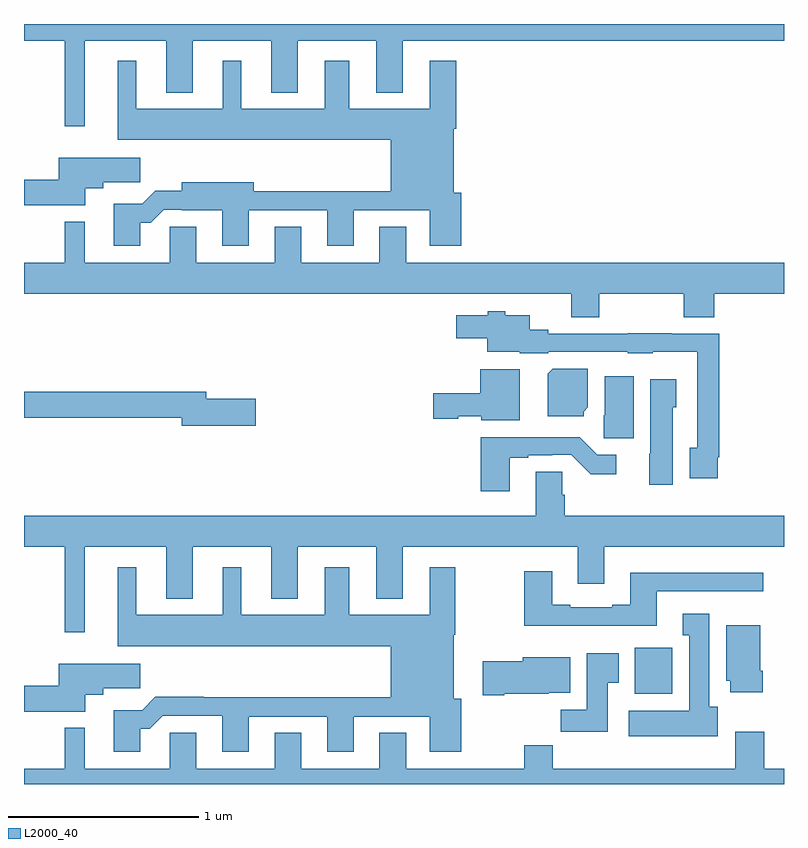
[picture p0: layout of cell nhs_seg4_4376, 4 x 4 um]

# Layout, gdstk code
import gdstk
lib = gdstk.Library(unit=1e-6, precision=1e-09)
def R(c, l, rs):  # rectangles x0, y0, x1, y1
    for r in rs: c.add(gdstk.rectangle(r[:2], r[2:], *l))
def P(c, l, *ps):  # polygons
    for p in ps: c.add(gdstk.Polygon(p, *l))
L2000_40 = (2000, 40)

nhs_seg4_4376 = lib.new_cell('nhs_seg4_4376')
R(nhs_seg4_4376, L2000_40, [(348.215,801.374,348.412,801.616)])
P(nhs_seg4_4376, L2000_40, [(345.319,804.812),(345.749,804.812),(345.749,804.539),(345.889,804.539),(345.889,804.812),(346.301,804.812),(346.301,804.539),(346.441,804.539),(346.441,804.812),(346.853,804.812),(346.853,804.539),(346.993,804.539),(346.993,804.812),(349,804.812),(349,804.9),(345,804.9),(345,804.812),(345.215,804.812),(345.215,804.363),(345.319,804.363)],
  [(345.613,803.855),(345.668,803.855),(345.735,803.922),(345.829,803.922),(345.829,803.919),(346.043,803.919),(346.043,803.733),(346.183,803.733),(346.183,803.919),(346.595,803.919),(346.595,803.733),(346.735,803.733),(346.735,803.919),(347.135,803.919),(347.135,803.733),(347.3,803.733),(347.3,804.012),(347.263,804.012),(347.263,804.35),(347.276,804.35),(347.276,804.706),(347.135,804.706),(347.135,804.454),(346.711,804.454),(346.711,804.706),(346.583,804.706),(346.583,804.454),(346.144,804.454),(346.144,804.706),(346.046,804.706),(346.046,804.454),(345.592,804.454),(345.592,804.706),(345.494,804.706),(345.494,804.29),(346.931,804.29),(346.931,804.02),(346.21,804.02),(346.21,804.067),(345.83,804.067),(345.83,804.023),(345.692,804.023),(345.622,803.953),(345.473,803.953),(345.473,803.733),(345.613,803.733)],
  [(345.322,804.035),(345.418,804.035),(345.418,804.067),(345.613,804.067),(345.613,804.196),(345.182,804.196),(345.182,804.08),(345,804.08),(345,803.945),(345.322,803.945)],
  [(348.027,803.48),(348.472,803.48),(348.472,803.356),(348.632,803.356),(348.632,803.48),(349,803.48),(349,803.644),(347.011,803.644),(347.011,803.834),(346.871,803.834),(346.871,803.644),(346.459,803.644),(346.459,803.834),(346.319,803.834),(346.319,803.644),(345.907,803.644),(345.907,803.834),(345.768,803.834),(345.768,803.644),(345.319,803.644),(345.319,803.86),(345.215,803.86),(345.215,803.644),(345,803.644),(345,803.48),(347.879,803.48),(347.879,803.356),(348.027,803.356)],
  [(348.652,802.621),(348.659,802.621),(348.659,803.271),(348.409,803.271),(348.409,803.273),(348.177,803.273),(348.177,803.271),(347.76,803.271),(347.76,803.29),(347.662,803.29),(347.662,803.368),(347.532,803.368),(347.532,803.389),(347.442,803.389),(347.442,803.368),(347.274,803.368),(347.274,803.246),(347.438,803.246),(347.438,803.174),(347.61,803.174),(347.61,803.168),(347.76,803.168),(347.76,803.175),(348.177,803.175),(348.177,803.168),(348.309,803.168),(348.309,803.174),(348.543,803.174),(348.543,802.67),(348.503,802.67),(348.503,802.509),(348.652,802.509)],
  [(347.946,802.86),(347.968,802.882),(347.968,803.086),(347.782,803.086),(347.756,803.06),(347.756,802.835),(347.946,802.835)],
  [(347.608,803.084),(347.402,803.084),(347.402,802.957),(347.154,802.957),(347.154,802.823),(347.286,802.823),(347.286,802.835),(347.406,802.835),(347.406,802.814),(347.608,802.814)],
  [(348.208,803.047),(348.056,803.047),(348.056,802.842),(348.052,802.842),(348.052,802.719),(348.208,802.719)],
  [(348.415,802.884),(348.433,802.884),(348.433,803.029),(348.296,803.029),(348.296,802.638),(348.29,802.638),(348.29,802.476),(348.415,802.476)],
  [(346.219,802.928),(345.958,802.928),(345.958,802.964),(345,802.964),(345,802.828),(345.83,802.828),(345.83,802.786),(346.219,802.786)],
  [(347.557,802.617),(347.653,802.617),(347.653,802.629),(347.78,802.629),(347.78,802.632),(347.88,802.632),(347.983,802.53),(348.118,802.53),(348.118,802.632),(348.018,802.632),(347.924,802.726),(347.405,802.726),(347.405,802.44),(347.557,802.44)],
  [(345.319,802.148),(345.749,802.148),(345.749,801.875),(345.889,801.875),(345.889,802.148),(346.301,802.148),(346.301,801.875),(346.441,801.875),(346.441,802.148),(346.853,802.148),(346.853,801.875),(346.993,801.875),(346.993,802.148),(347.915,802.148),(347.915,801.954),(348.055,801.954),(348.055,802.148),(349,802.148),(349,802.312),(347.846,802.312),(347.846,802.422),(347.832,802.422),(347.832,802.544),(347.693,802.544),(347.693,802.312),(345,802.312),(345,802.148),(345.215,802.148),(345.215,801.699),(345.319,801.699)],
  [(345.613,801.191),(345.662,801.191),(345.729,801.258),(346.043,801.258),(346.043,801.069),(346.183,801.069),(346.183,801.255),(346.595,801.255),(346.595,801.069),(346.735,801.069),(346.735,801.255),(347.135,801.255),(347.135,801.069),(347.3,801.069),(347.3,801.348),(347.263,801.348),(347.263,801.686),(347.271,801.686),(347.271,802.042),(347.135,802.042),(347.135,801.79),(346.711,801.79),(346.711,802.042),(346.583,802.042),(346.583,801.79),(346.144,801.79),(346.144,802.042),(346.046,802.042),(346.046,801.79),(345.592,801.79),(345.592,802.042),(345.494,802.042),(345.494,801.626),(346.931,801.626),(346.931,801.356),(345.947,801.356),(345.947,801.359),(345.692,801.359),(345.622,801.289),(345.473,801.289),(345.473,801.069),(345.613,801.069)],
  [(348.331,801.915),(348.892,801.915),(348.892,802.012),(348.191,802.012),(348.191,801.844),(348.095,801.844),(348.095,801.831),(347.875,801.831),(347.875,801.844),(347.779,801.844),(347.779,802.021),(347.632,802.021),(347.632,801.734),(348.331,801.734)],
  [(348.652,801.306),(348.607,801.306),(348.607,801.796),(348.467,801.796),(348.467,801.683),(348.5,801.683),(348.5,801.286),(348.183,801.286),(348.183,801.152),(348.652,801.152)],
  [(348.887,801.496),(348.874,801.496),(348.874,801.736),(348.695,801.736),(348.695,801.444),(348.716,801.444),(348.716,801.384),(348.887,801.384)],
  [(348.073,801.433),(348.13,801.433),(348.13,801.589),(347.963,801.589),(347.963,801.292),(347.824,801.292),(347.824,801.174),(348.073,801.174)],
  [(347.527,801.374),(347.763,801.374),(347.763,801.38),(347.875,801.38),(347.875,801.568),(347.624,801.568),(347.624,801.545),(347.415,801.545),(347.415,801.367),(347.527,801.367)],
  [(345.322,801.371),(345.418,801.371),(345.418,801.403),(345.613,801.403),(345.613,801.532),(345.182,801.532),(345.182,801.416),(345,801.416),(345,801.281),(345.322,801.281)],
  [(349,800.98),(348.896,800.98),(348.896,801.175),(348.743,801.175),(348.743,800.98),(347.783,800.98),(347.783,801.104),(347.632,801.104),(347.632,800.98),(347.011,800.98),(347.011,801.17),(346.871,801.17),(346.871,800.98),(346.459,800.98),(346.459,801.17),(346.319,801.17),(346.319,800.98),(345.907,800.98),(345.907,801.17),(345.768,801.17),(345.768,800.98),(345.319,800.98),(345.319,801.196),(345.215,801.196),(345.215,800.98),(345,800.98),(345,800.9),(349,800.9)])

lib.write_gds('nhs_seg4_4376.gds')
